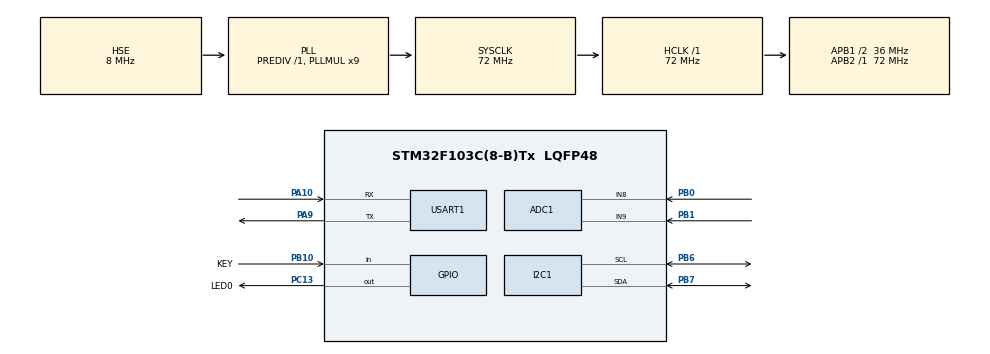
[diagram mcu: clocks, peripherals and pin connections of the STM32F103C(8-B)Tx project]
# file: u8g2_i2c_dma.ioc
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ADC1.Channel-8\#ChannelRegularConversion=ADC_CHANNEL_8
ADC1.Channel-9\#ChannelRegularConversion=ADC_CHANNEL_9
ADC1.ContinuousConvMode=DISABLE
ADC1.NbrOfConversion=2
ADC1.NbrOfConversionFlag=1
ADC1.Rank-8\#ChannelRegularConversion=1
ADC1.Rank-9\#ChannelRegularConversion=2
ADC1.SamplingTime-8\#ChannelRegularConversion=ADC_SAMPLETIME_239CYCLES_5
ADC1.SamplingTime-9\#ChannelRegularConversion=ADC_SAMPLETIME_239CYCLES_5
ADC1.master=1
Dma.ADC1.0.Direction=DMA_PERIPH_TO_MEMORY
Dma.ADC1.0.Instance=DMA1_Channel1
Dma.ADC1.0.MemDataAlignment=DMA_MDATAALIGN_HALFWORD
Dma.ADC1.0.MemInc=DMA_MINC_ENABLE
Dma.ADC1.0.Mode=DMA_CIRCULAR
Dma.ADC1.0.PeriphDataAlignment=DMA_PDATAALIGN_HALFWORD
Dma.ADC1.0.PeriphInc=DMA_PINC_DISABLE
Dma.ADC1.0.Priority=DMA_PRIORITY_MEDIUM
Dma.Request0=ADC1
I2C1.I2C_Mode=I2C_Fast
I2C1.OwnAddress=5
Mcu.Family=STM32F1
Mcu.Name=STM32F103C(8-B)Tx
Mcu.Package=LQFP48
NVIC.DMA1_Channel1_IRQn=true\:0\:0\:false\:false\:true\:false\:true\:true
NVIC.I2C1_ER_IRQn=true\:0\:0\:false\:false\:true\:true\:true\:true
NVIC.I2C1_EV_IRQn=true\:0\:0\:false\:false\:true\:true\:true\:true
NVIC.PriorityGroup=NVIC_PRIORITYGROUP_4
NVIC.USART1_IRQn=true\:0\:0\:false\:false\:true\:true\:true\:true
PA10.Mode=Asynchronous
PA10.Signal=USART1_RX
PA13.Mode=Serial_Wire
PA13.Signal=SYS_JTMS-SWDIO
PA14.Mode=Serial_Wire
PA14.Signal=SYS_JTCK-SWCLK
PA9.Mode=Asynchronous
PA9.Signal=USART1_TX
PB0.Signal=ADCx_IN8
PB1.Signal=ADCx_IN9
PB10.GPIO_Label=KEY
PB10.GPIO_PuPd=GPIO_PULLUP
PB10.Signal=GPIO_Input
PB6.Mode=I2C
PB6.Signal=I2C1_SCL
PB7.Mode=I2C
PB7.Signal=I2C1_SDA
PC13-TAMPER-RTC.GPIO_Label=LED0
PC13-TAMPER-RTC.Signal=GPIO_Output
PD0-OSC_IN.Mode=HSE-External-Oscillator
PD0-OSC_IN.Signal=RCC_OSC_IN
PD1-OSC_OUT.Mode=HSE-External-Oscillator
PD1-OSC_OUT.Signal=RCC_OSC_OUT
ProjectManager.HeapSize=0x200
ProjectManager.StackSize=0x400
ProjectManager.TargetToolchain=MDK-ARM V5
RCC.ADCPresc=RCC_ADCPCLK2_DIV6
RCC.AHBFreq_Value=72000000
RCC.APB1CLKDivider=RCC_HCLK_DIV2
RCC.APB1Freq_Value=36000000
RCC.APB1TimFreq_Value=72000000
RCC.APB2Freq_Value=72000000
RCC.APB2TimFreq_Value=72000000
RCC.HCLKFreq_Value=72000000
RCC.PLLMUL=RCC_PLL_MUL9
RCC.PLLSourceVirtual=RCC_PLLSOURCE_HSE
RCC.SYSCLKFreq_VALUE=72000000
RCC.SYSCLKSource=RCC_SYSCLKSOURCE_PLLCLK
RCC.USBFreq_Value=72000000
SH.ADCx_IN8.0=ADC1_IN8,IN8
SH.ADCx_IN9.0=ADC1_IN9,IN9
USART1.VirtualMode=VM_ASYNC
board=custom

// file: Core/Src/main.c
/* USER CODE BEGIN Header */
/**
  ******************************************************************************
  * @file           : main.c
  * @brief          : Main program body
  ******************************************************************************
  * @attention
  *
  * Copyright (c) 2024 STMicroelectronics.
  * All rights reserved.
  *
  * This software is licensed under terms that can be found in the LICENSE file
  * in the root directory of this software component.
  * If no LICENSE file comes with this software, it is provided AS-IS.
  *
  ******************************************************************************
  */
/* USER CODE END Header */
#include "main.h"
#include "adc.h"
#include "dma.h"
#include "i2c.h"
#include "usart.h"
#include "gpio.h"

/* USER CODE BEGIN Includes */
#include <stdio.h>
#include <string.h>
#include <stdlib.h>
#include <math.h>
#include "u8g2.h"
#include "OLED.h"
/* USER CODE END Includes */

void SystemClock_Config(void);

/* USER CODE BEGIN 0 */
uint8_t GetKeyStatus(void)
{
    GPIO_PinState state;

    state = HAL_GPIO_ReadPin(KEY_GPIO_Port, KEY_Pin);
    if (state == GPIO_PIN_SET) {
        HAL_Delay(20);
        state = HAL_GPIO_ReadPin(KEY_GPIO_Port, KEY_Pin);
        if (state == GPIO_PIN_SET) {
            return 1;
        }
    }

    return 0;
}

// 画眼白
void DrawEyesWhite(u8g2_t *u8g2)
{
    u8g2_SetDrawColor(u8g2, 1);
    u8g2_DrawDisc(u8g2, 32, 32, 30, U8G2_DRAW_ALL);
    u8g2_DrawDisc(u8g2, 96, 32, 30, U8G2_DRAW_ALL);
}

// 画瞳孔
// x, y: [-15, +15]
void DrawEyesPupil(u8g2_t *u8g2, int8_t x, int8_t y)
{
    int8_t xPos = 32 + x;
    int8_t yPos = 32 + y;

    u8g2_SetDrawColor(u8g2, 0);
    u8g2_DrawDisc(u8g2, xPos, yPos, 15, U8G2_DRAW_ALL);
    u8g2_DrawDisc(u8g2, xPos + 64, yPos, 15, U8G2_DRAW_ALL);

    // 瞳孔上的反光
    u8g2_SetDrawColor(u8g2, 1);
    u8g2_DrawDisc(u8g2, xPos + 10, yPos - 10, 3, U8G2_DRAW_ALL);
    u8g2_DrawDisc(u8g2, (xPos + 64) + 10, yPos - 10, 3, U8G2_DRAW_ALL);
    u8g2_DrawFilledEllipse(u8g2, xPos - 8, yPos + 8, 2, 4, U8G2_DRAW_ALL);
    u8g2_DrawFilledEllipse(u8g2, (xPos + 64) - 8, yPos + 8, 2, 4, U8G2_DRAW_ALL);
}

// 画半闭上的眼睛
void DrawClosedEyes(u8g2_t *u8g2, int8_t x, int8_t y)
{
    int8_t xPos = 32 + x;
    int8_t yPos = 32 + y;

    u8g2_SetClipWindow(u8g2,0, 32, 127, 63);
    u8g2_SetDrawColor(u8g2, 1);
    u8g2_DrawDisc(u8g2, 32, 32, 30, U8G2_DRAW_ALL);
    u8g2_DrawDisc(u8g2, 96, 32, 30, U8G2_DRAW_ALL);

    // 画瞳孔
    u8g2_SetDrawColor(u8g2, 0);
    u8g2_DrawDisc(u8g2, xPos, yPos, 15, U8G2_DRAW_LOWER_RIGHT|U8G2_DRAW_LOWER_LEFT);
    u8g2_DrawDisc(u8g2, xPos + 64, yPos, 15, U8G2_DRAW_LOWER_RIGHT|U8G2_DRAW_LOWER_LEFT);

    // 瞳孔上的反光
    u8g2_SetDrawColor(u8g2, 1);
    u8g2_DrawDisc(u8g2, xPos + 10, yPos - 10, 3, U8G2_DRAW_ALL);
    u8g2_DrawDisc(u8g2, (xPos + 64) + 10, yPos - 10, 3, U8G2_DRAW_ALL);
    u8g2_DrawFilledEllipse(u8g2, xPos - 8, yPos + 8, 2, 4, U8G2_DRAW_ALL);
    u8g2_DrawFilledEllipse(u8g2, (xPos + 64) - 8, yPos + 8, 2, 4, U8G2_DRAW_ALL);
    u8g2_SetMaxClipWindow(u8g2);
}

/* USER CODE END 0 */

int main(void)
{
  /* USER CODE BEGIN 1 */
  u8g2_t u8g2;
//  char data[32];
  /* USER CODE END 1 */

  /* MCU Configuration--------------------------------------------------------*/

  /* Reset of all peripherals, Initializes the Flash interface and the Systick. */
  HAL_Init();

  /* Configure the system clock */
  SystemClock_Config();

  /* Initialize all configured peripherals */
  MX_GPIO_Init();
  MX_DMA_Init();
  MX_I2C1_Init();
  MX_USART1_UART_Init();
  MX_ADC1_Init();
  /* USER CODE BEGIN 2 */
  u8g2_Init(&u8g2);
  /* USER CODE END 2 */

  /* Infinite loop */
  /* USER CODE BEGIN WHILE */
  while (1)
  {
    u8g2_FirstPage(&u8g2);
    do
    {
//      u8g2_SetFont(&u8g2, u8g2_font_inb16_mr);

//        memset(data, 0, sizeof(data));
//      sprintf(data, "%d", coordinates[0] * );
//      u8g2_DrawStr(&u8g2, 0, 16, data); // x坐标值

//      memset(data, 0, sizeof(data));
//      sprintf(data, "%d", coordinates[1]);
//      u8g2_DrawStr(&u8g2, 0, 32, data); // y坐标值
        int8_t x;
        int8_t y;

        x = coordinates[1] * 15 / 2048;
        y = coordinates[0] * 15 / 2048;

      // 按键状态
      if (GetKeyStatus())  {    // Key up
        if (x * x + y * y < 15 * 15)
        {
            DrawEyesWhite(&u8g2);
            DrawEyesPupil(&u8g2, x, y);
        }
        else
        {
            double angle = atan2(y, x);
            x = 15 * cos(angle);
            y = 15 * sin(angle);

            DrawEyesWhite(&u8g2);
            DrawEyesPupil(&u8g2, x, y);
        }
      } else {
        if (x * x + y * y < 15 * 15)
        {
          DrawClosedEyes(&u8g2, x, y);
        }
        else
        {
            double angle = atan2(y, x);
            x = 15 * cos(angle);
            y = 15 * sin(angle);

          DrawClosedEyes(&u8g2, x, y);
        }
      }
    } while (u8g2_NextPage(&u8g2));
    /* USER CODE END WHILE */

    /* USER CODE BEGIN 3 */
    HAL_GPIO_TogglePin(LED0_GPIO_Port, LED0_Pin);

    // 再次启动DMA
    ADC_StartDMA();
  }
  /* USER CODE END 3 */
}

void SystemClock_Config(void)
{
  RCC_OscInitTypeDef RCC_OscInitStruct = {0};
  RCC_ClkInitTypeDef RCC_ClkInitStruct = {0};
  RCC_PeriphCLKInitTypeDef PeriphClkInit = {0};

  /** Initializes the RCC Oscillators according to the specified parameters
  * in the RCC_OscInitTypeDef structure.
  */
  RCC_OscInitStruct.OscillatorType = RCC_OSCILLATORTYPE_HSE;
  RCC_OscInitStruct.HSEState = RCC_HSE_ON;
  RCC_OscInitStruct.HSEPredivValue = RCC_HSE_PREDIV_DIV1;
  RCC_OscInitStruct.HSIState = RCC_HSI_ON;
  RCC_OscInitStruct.PLL.PLLState = RCC_PLL_ON;
  RCC_OscInitStruct.PLL.PLLSource = RCC_PLLSOURCE_HSE;
  RCC_OscInitStruct.PLL.PLLMUL = RCC_PLL_MUL9;
  if (HAL_RCC_OscConfig(&RCC_OscInitStruct) != HAL_OK)
  {
    Error_Handler();
  }

  /** Initializes the CPU, AHB and APB buses clocks
  */
  RCC_ClkInitStruct.ClockType = RCC_CLOCKTYPE_HCLK|RCC_CLOCKTYPE_SYSCLK
                              |RCC_CLOCKTYPE_PCLK1|RCC_CLOCKTYPE_PCLK2;
  RCC_ClkInitStruct.SYSCLKSource = RCC_SYSCLKSOURCE_PLLCLK;
  RCC_ClkInitStruct.AHBCLKDivider = RCC_SYSCLK_DIV1;
  RCC_ClkInitStruct.APB1CLKDivider = RCC_HCLK_DIV2;
  RCC_ClkInitStruct.APB2CLKDivider = RCC_HCLK_DIV1;

  if (HAL_RCC_ClockConfig(&RCC_ClkInitStruct, FLASH_LATENCY_2) != HAL_OK)
  {
    Error_Handler();
  }
  PeriphClkInit.PeriphClockSelection = RCC_PERIPHCLK_ADC;
  PeriphClkInit.AdcClockSelection = RCC_ADCPCLK2_DIV6;
  if (HAL_RCCEx_PeriphCLKConfig(&PeriphClkInit) != HAL_OK)
  {
    Error_Handler();
  }
}

void Error_Handler(void)
{
  __disable_irq();
  while (1)
  {
  }
}
